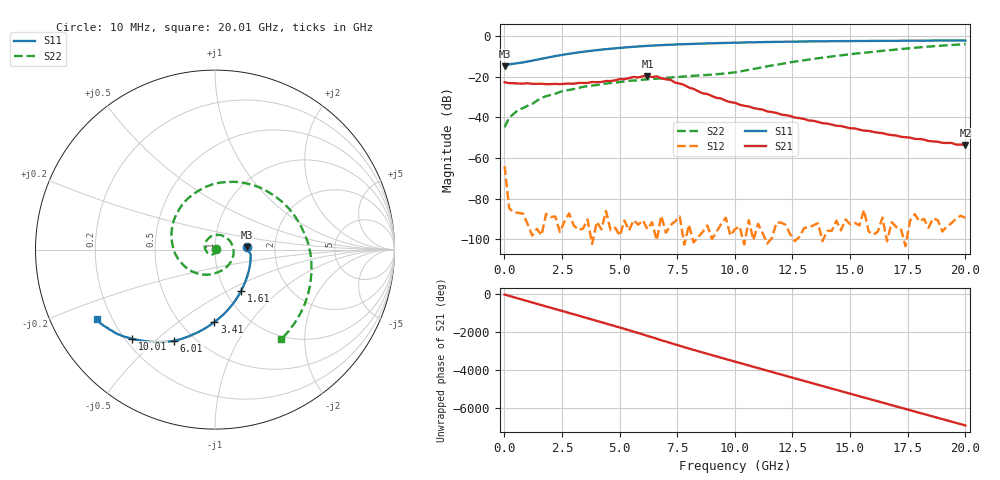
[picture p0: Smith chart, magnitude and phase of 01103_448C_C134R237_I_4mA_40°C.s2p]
!;Filter: kein Filter
!auto
!3/21/2019 9:25:24 AM
!3/21/2019 9:25:40 AM
!SP-Measurements Prober G4
!SP-Measurements Prober G4
!01103_448C
!134
!237
!12
!40
!-20
!0.00399976
!1.88
!0.54220246
!0.54220246
# Hz S  RI  R 50
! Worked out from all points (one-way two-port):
!   101 points, 10 MHz to 20.01 GHz, reference 50 ohm
!   highest |S21| = -19.80 dB at 6.21 GHz (marker M1); lowest = -53.7 dB at 20.01 GHz (marker M2)
!   lowest |S11| = -15.1 dB at 10 MHz (marker M3), VSWR 1.43, Z = 71.4 + j1.89 ohm
!   |S11| at or under -10 dB: start of sweep to 2.2 GHz
!   |S22| runs from -44.9 to -4.1 dB; largest |S21 - S12| = 0.1
!   S11 on the Smith chart (normalised r, x): 10 MHz: 1.43, +0.04; 1.61 GHz: 1.18, -0.59; 3.41 GHz: 0.71, -0.69; 6.01 GHz: 0.39, -0.58; 10.01 GHz: 0.23, -0.42; 20.01 GHz: 0.14, -0.27
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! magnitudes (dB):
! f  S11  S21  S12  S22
! 10 MHz  -15.1  -22.8  -64.1  -44.9
! 210 MHz  -14.0  -23.2  -84.8  -40.2
! 610 MHz  -13.4  -23.4  -87.0  -36.3
! 1.21 GHz  -12.2  -23.6  -98.1  -33.5
! 1.61 GHz  -11.3  -23.6  -98.0  -30.5
! 2.61 GHz  -9.2  -23.6  -91.2  -26.9
! 3.41 GHz  -7.9  -23.2  -94.8  -25.1
! 4.61 GHz  -6.4  -22.3  -95.5  -23.2
! 6.01 GHz  -5.1  -19.8  -90.6  -21.6
! 6.21 GHz  -4.9  -19.8  -95.0  -21.4
! 6.41 GHz  -4.8  -20.3  -91.6  -21.1
! 6.61 GHz  -4.7  -19.9  -100.4  -21.1
! 6.81 GHz  -4.6  -20.8  -88.4  -20.9
! 7.21 GHz  -4.4  -21.6  -93.0  -20.5
! 7.41 GHz  -4.3  -23.0  -91.2  -20.3
! 8.61 GHz  -3.8  -28.3  -96.3  -19.4
! 10.01 GHz  -3.4  -32.9  -95.0  -17.9
! 11.41 GHz  -3.1  -37.2  -102.0  -15.0
! 13.41 GHz  -2.8  -41.8  -93.2  -11.4
! 16.81 GHz  -2.5  -48.8  -91.6  -7.0
! 18.41 GHz  -2.4  -51.7  -94.3  -5.3
! 20.01 GHz  -2.3  -53.7  -89.4  -4.1
